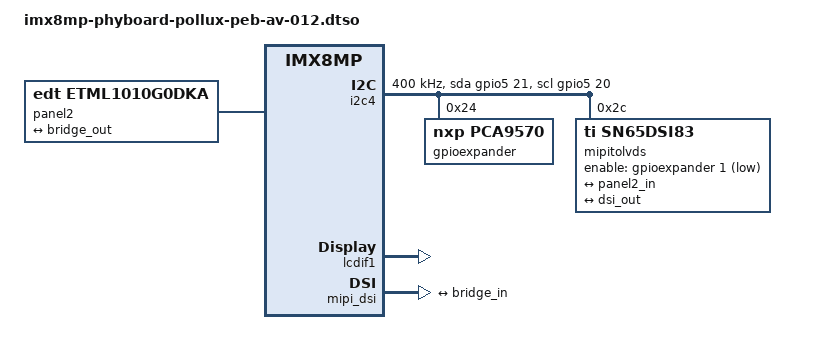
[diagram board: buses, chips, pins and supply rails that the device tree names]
// SPDX-License-Identifier: GPL-2.0
/*
 * Copyright (C) 2022 PHYTEC Messtechnik GmbH
 * Author: Cem Tenruh <c.tenruh@phytec.de>
 */

/dts-v1/;
/plugin/;

#include <dt-bindings/clock/imx8mp-clock.h>
#include <dt-bindings/gpio/gpio.h>
#include "../imx8mp-pinfunc.h"

/ {
	compatible = "phytec,imx8mp-phyboard-pollux-rdk";

	fragment@5 {
		target-path= "/";

		__overlay__ {
			panel2: panel2 {
				compatible = "edt,etml1010g0dka";

				port {
					panel2_in: endpoint {
						remote-endpoint = <&bridge_out>;
					};
				};
			};
		};
	};
};

&i2c4 {
	pinctrl-names = "default","gpio";
	pinctrl-0 = <&pinctrl_i2c4>;
	pinctrl-1 = <&pinctrl_i2c4_gpio>;
	sda-gpios = <&gpio5 21 (GPIO_ACTIVE_HIGH | GPIO_OPEN_DRAIN)>;
	scl-gpios = <&gpio5 20 (GPIO_ACTIVE_HIGH | GPIO_OPEN_DRAIN)>;
	clock-frequency = <400000>;
	status = "okay";

	gpioexpander: gpio@24 {
		compatible = "nxp,pca9570";
		reg = <0x24>;
		gpio-controller;
		#gpio-cells = <2>;
	};

	mipitolvds@2c {
		compatible = "ti,sn65dsi83";
		pinctrl-names = "default";
		enable-gpios = <&gpioexpander 1 GPIO_ACTIVE_LOW>;
		reg = <0x2c>;
		lanes_in = <4>;
		lvds_vod_swing = <0x3>;

		ports {
			#address-cells = <1>;
			#size-cells = <0>;

			port@0 {
				reg = <0>;

				bridge_out: endpoint {
					remote-endpoint = <&panel2_in>;
				};
			};

			port@1 {
				reg = <1>;

				bridge_in: endpoint {
					remote-endpoint = <&dsi_out>;
				};
			};
		};
	};
};

&lcdif1 {
	status = "okay";
};

&mipi_dsi {
	status = "okay";

	port@1 {
		dsi_out: endpoint {
			remote-endpoint = <&bridge_in>;
			attach-bridge;
		};
	};
};

&iomuxc {
	pinctrl_i2c4: i2c4grp {
		fsl,pins = <
			MX8MP_IOMUXC_I2C4_SCL__I2C4_SCL         0x400001c3
			MX8MP_IOMUXC_I2C4_SDA__I2C4_SDA         0x400001c3
		>;
	};

	pinctrl_i2c4_gpio: i2c4gpiogrp {
		fsl,pins = <
			MX8MP_IOMUXC_I2C4_SCL__GPIO5_IO20       0x1c3
			MX8MP_IOMUXC_I2C4_SDA__GPIO5_IO21       0x1c3
		>;
	};
};
